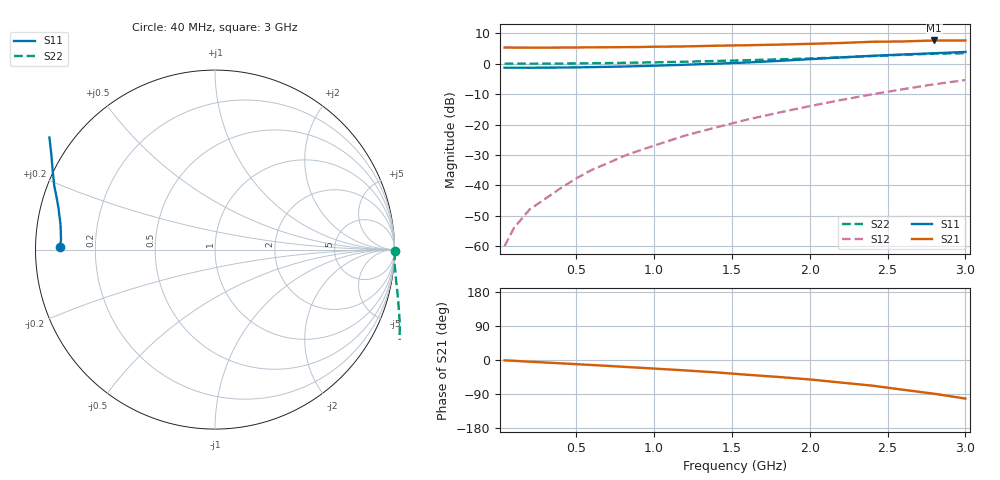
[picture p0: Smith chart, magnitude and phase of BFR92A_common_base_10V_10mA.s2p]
! Filename:  BFR92ACH.S2P  Version:  2.0
! Philips part #: BFR92A  Date: Jul 1990
! Bias condition: Vce=10V, Ic=10mA
! COMMON BASE
#  MHz  S  MA  R  50
! Freq  S11  S21  S12  S22
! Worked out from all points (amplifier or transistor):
!   21 points, 40 MHz to 3 GHz, reference 50 ohm
!   highest |S21| = 7.7 dB at 2.8 GHz (marker M1)
!   |S21| within 3 dB of that: start of sweep to end of sweep
!   unconditionally stable (mu >= 1): nowhere
!   at 300 MHz: K = -0.54, MSG = 24.9 dB, |S12| = -44.4 dB
!   at 1 GHz: K = -0.94, MSG = 16.3 dB, |S12| = -26.9 dB
!   at 3 GHz: K = -0.87, MSG = 6.5 dB, |S12| = -5.4 dB
40  0.861 179.1  1.848 -1.0  0.001 56.0  1.002 -0.6
100  0.861 178.0  1.846 -2.1  0.002 84.0  1.004 -1.3
200  0.86 176.1  1.844 -4.5  0.004 104.9  1.002 -2.9
300  0.863 174.4  1.842 -6.6  0.006 120.2  1.003 -4.4
400  0.867 172.6  1.847 -8.8  0.009 127.8  1.008 -5.8
500  0.872 170.8  1.853 -11.0  0.013 132.7  1.013 -7.2
600  0.88 169.0  1.863 -13.2  0.018 136.9  1.019 -8.7
700  0.89 167.3  1.869 -15.4  0.023 140.0  1.026 -10.2
800  0.9 165.4  1.877 -17.9  0.03 141.9  1.035 -11.7
900  0.914 163.6  1.884 -20.2  0.037 143.5  1.045 -13.4
1000  0.929 161.8  1.904 -22.6  0.045 145.0  1.055 -14.9
1200  0.964 158.3  1.929 -27.5  0.066 145.8  1.08 -18.4
1400  1.002 154.4  1.981 -32.7  0.09 145.1  1.111 -22.0
1600  1.05 150.2  2.017 -39.0  0.121 144.6  1.145 -26.1
1800  1.114 145.9  2.066 -44.8  0.157 142.6  1.182 -30.8
2000  1.19 141.5  2.126 -51.3  0.201 139.8  1.221 -36.3
2200  1.272 136.9  2.196 -59.5  0.253 136.6  1.273 -42.8
2400  1.351 131.7  2.299 -67.6  0.314 132.2  1.338 -50.0
2600  1.421 125.0  2.328 -78.5  0.382 127.4  1.406 -57.9
2800  1.491 116.4  2.417 -89.1  0.46 120.8  1.464 -66.1
3000  1.564 107.3  2.417 -101.8  0.54 114.1  1.49 -75.5
